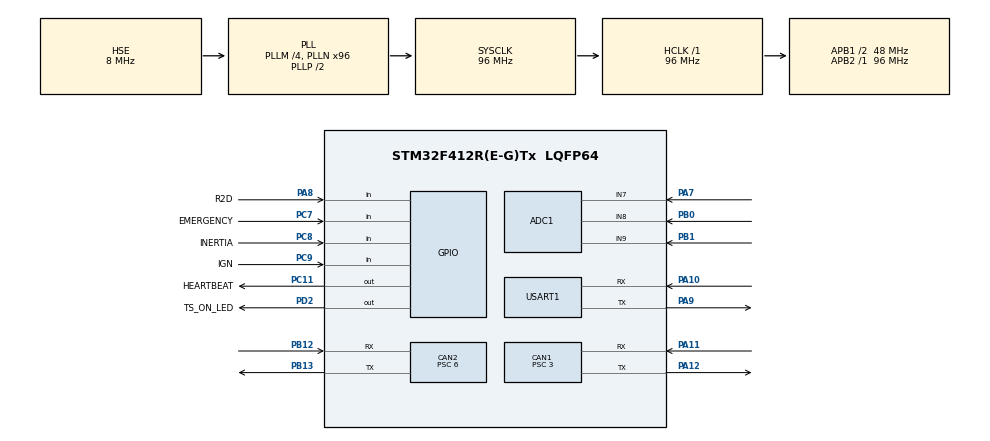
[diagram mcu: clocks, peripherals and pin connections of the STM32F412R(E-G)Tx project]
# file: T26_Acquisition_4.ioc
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ADC1.Channel-0\#ChannelRegularConversion=ADC_CHANNEL_7
ADC1.Channel-1\#ChannelRegularConversion=ADC_CHANNEL_8
ADC1.Channel-2\#ChannelRegularConversion=ADC_CHANNEL_9
ADC1.ContinuousConvMode=ENABLE
ADC1.DMAContinuousRequests=ENABLE
ADC1.NbrOfConversion=3
ADC1.NbrOfConversionFlag=1
ADC1.Rank-0\#ChannelRegularConversion=1
ADC1.Rank-1\#ChannelRegularConversion=2
ADC1.Rank-2\#ChannelRegularConversion=3
ADC1.SamplingTime-0\#ChannelRegularConversion=ADC_SAMPLETIME_480CYCLES
ADC1.SamplingTime-1\#ChannelRegularConversion=ADC_SAMPLETIME_480CYCLES
ADC1.SamplingTime-2\#ChannelRegularConversion=ADC_SAMPLETIME_480CYCLES
ADC1.ScanConvMode=ENABLE
ADC1.master=1
CAN1.ABOM=ENABLE
CAN1.BS1=CAN_BS1_11TQ
CAN1.BS2=CAN_BS2_4TQ
CAN1.CalculateBaudRate=1000000
CAN1.CalculateTimeBit=1000
CAN1.CalculateTimeQuantum=62.5
CAN1.NART=ENABLE
CAN1.Prescaler=3
CAN1.SJW=CAN_SJW_2TQ
CAN2.ABOM=ENABLE
CAN2.BS1=CAN_BS1_13TQ
CAN2.BS2=CAN_BS2_2TQ
CAN2.CalculateBaudRate=500000
CAN2.CalculateTimeBit=2000
CAN2.CalculateTimeQuantum=125.0
CAN2.NART=ENABLE
CAN2.Prescaler=6
CAN2.SJW=CAN_SJW_2TQ
Dma.ADC1.0.Direction=DMA_PERIPH_TO_MEMORY
Dma.ADC1.0.FIFOMode=DMA_FIFOMODE_DISABLE
Dma.ADC1.0.Instance=DMA2_Stream0
Dma.ADC1.0.MemDataAlignment=DMA_MDATAALIGN_HALFWORD
Dma.ADC1.0.MemInc=DMA_MINC_ENABLE
Dma.ADC1.0.Mode=DMA_CIRCULAR
Dma.ADC1.0.PeriphDataAlignment=DMA_PDATAALIGN_HALFWORD
Dma.ADC1.0.PeriphInc=DMA_PINC_DISABLE
Dma.ADC1.0.Priority=DMA_PRIORITY_LOW
Dma.Request0=ADC1
IWDG.Prescaler=IWDG_PRESCALER_64
IWDG.Reload=1000
Mcu.Family=STM32F4
Mcu.Name=STM32F412R(E-G)Tx
Mcu.Package=LQFP64
NVIC.CAN1_RX0_IRQn=true\:0\:0\:false\:false\:true\:true\:true\:true
NVIC.CAN1_RX1_IRQn=true\:0\:0\:false\:false\:true\:true\:true\:true
NVIC.CAN1_SCE_IRQn=true\:0\:0\:false\:false\:true\:true\:true\:true
NVIC.CAN1_TX_IRQn=true\:0\:0\:false\:false\:true\:true\:true\:true
NVIC.CAN2_RX0_IRQn=true\:0\:0\:false\:false\:true\:true\:true\:true
NVIC.CAN2_RX1_IRQn=true\:0\:0\:false\:false\:true\:true\:true\:true
NVIC.CAN2_SCE_IRQn=true\:0\:0\:false\:false\:true\:true\:true\:true
NVIC.CAN2_TX_IRQn=true\:0\:0\:false\:false\:true\:true\:true\:true
NVIC.DMA2_Stream0_IRQn=true\:0\:0\:false\:false\:true\:false\:true\:true
NVIC.PriorityGroup=NVIC_PRIORITYGROUP_4
NVIC.TIM7_IRQn=true\:0\:0\:false\:false\:true\:true\:true\:true
PA10.Mode=Asynchronous
PA10.Signal=USART1_RX
PA11.GPIO_PuPd=GPIO_PULLUP
PA11.Mode=CAN_Activate
PA11.Signal=CAN1_RX
PA12.Mode=CAN_Activate
PA12.Signal=CAN1_TX
PA13.Mode=Serial_Wire
PA13.Signal=SYS_JTMS-SWDIO
PA14.Mode=Serial_Wire
PA14.Signal=SYS_JTCK-SWCLK
PA7.Signal=ADCx_IN7
PA8.GPIO_Label=R2D
PA8.Signal=GPIO_Input
PA9.Mode=Asynchronous
PA9.Signal=USART1_TX
PB0.Signal=ADCx_IN8
PB1.Signal=ADCx_IN9
PB12.GPIO_PuPd=GPIO_PULLUP
PB12.Mode=CAN_Activate
PB12.Signal=CAN2_RX
PB13.Mode=CAN_Activate
PB13.Signal=CAN2_TX
PC11.GPIO_Label=HEARTBEAT
PC11.Signal=GPIO_Output
PC7.GPIO_Label=EMERGENCY
PC7.Signal=GPIO_Input
PC8.GPIO_Label=INERTIA
PC8.Signal=GPIO_Input
PC9.GPIO_Label=IGN
PC9.Signal=GPIO_Input
PD2.GPIO_Label=TS_ON_LED
PD2.Signal=GPIO_Output
PH0\ -\ OSC_IN.Mode=HSE-External-Oscillator
PH0\ -\ OSC_IN.Signal=RCC_OSC_IN
PH1\ -\ OSC_OUT.Mode=HSE-External-Oscillator
PH1\ -\ OSC_OUT.Signal=RCC_OSC_OUT
ProjectManager.HeapSize=0x200
ProjectManager.StackSize=0x400
ProjectManager.TargetToolchain=STM32CubeIDE
RCC.AHBFreq_Value=96000000
RCC.APB1CLKDivider=RCC_HCLK_DIV2
RCC.APB1Freq_Value=48000000
RCC.APB1TimFreq_Value=96000000
RCC.APB2Freq_Value=96000000
RCC.APB2TimFreq_Value=96000000
RCC.CortexFreq_Value=96000000
RCC.HCLKFreq_Value=96000000
RCC.HSE_VALUE=8000000
RCC.PLLM=4
RCC.PLLN=96
RCC.PLLSourceVirtual=RCC_PLLSOURCE_HSE
RCC.SYSCLKFreq_VALUE=96000000
RCC.SYSCLKSource=RCC_SYSCLKSOURCE_PLLCLK
RCC.USBFreq_Value=96000000
RCC.VCOOutputFreq_Value=192000000
SH.ADCx_IN7.0=ADC1_IN7,IN7
SH.ADCx_IN8.0=ADC1_IN8,IN8
SH.ADCx_IN9.0=ADC1_IN9,IN9
TIM7.Period=999
TIM7.Prescaler=95
USART1.VirtualMode=VM_ASYNC
VP_IWDG_VS_IWDG.Mode=IWDG_Activate
VP_TIM7_VS_ClockSourceINT.Mode=Enable_Timer
board=custom

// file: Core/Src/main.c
/* USER CODE BEGIN Header */
/**
 ******************************************************************************
 * @file           : main.c
 * @brief          : Main program body
 ******************************************************************************
 * @attention
 *
 * Copyright (c) 2026 STMicroelectronics.
 * All rights reserved.
 *
 * This software is licensed under terms that can be found in the LICENSE file
 * in the root directory of this software component.
 * If no LICENSE file comes with this software, it is provided AS-IS.
 *
 ******************************************************************************
 */
/* USER CODE END Header */
#include "main.h"
#include "adc.h"
#include "can.h"
#include "dma.h"
#include "iwdg.h"
#include "tim.h"
#include "usart.h"
#include "gpio.h"

/* USER CODE BEGIN Includes */
#include <stdio.h>
#include <string.h>
#include "../DBC/autonomous_t26.h"
#include "../DBC/powertrain_t26.h"

/* USER CODE END Includes */

/* USER CODE BEGIN PV */
volatile uint32_t time_ms = 0;

// Digital inputs
uint8_t inertia;    // PC8
uint8_t emergency;  // PC7

// Analog sensors
float ST_ANGLE;     // Steering angle (deg)
float SUSP1;        // Left suspension travel from ride height (mm): + extension, - compression
float SUSP2;        // Right suspension travel from ride height (mm): + extension, - compression
float SUSP_LEFT_ZERO;           // Absolute left position at boot = ride height (mm)
float SUSP_RIGHT_ZERO;          // Absolute right position at boot = ride height (mm)
uint8_t susp_zero_valid = 0;    // 1 once the ride height zero was captured
uint16_t ADC_VALUE[3];  // DMA target: [0] PA7 steering, [1] PB0 susp1, [2] PB1 susp2

// Digital inputs
uint8_t ignition, r2d;  // PC9, PA8

// ADC moving average
#define ADC_BUFFER_SIZE 10
uint16_t adc_buffers[3][ADC_BUFFER_SIZE];
uint8_t adc_buffer_index = 0;
uint16_t adc_filtered[3];

// Steering sensor: Vishay 981HE0B4WA1F16, 360 deg continuous, analog CW, 10..90 % of 5 V
// (0.5..4.5 V), behind a 2/3 divider. Its output jumps from 90 % back to 10 % once per turn.
// Calibration lives in acq4.steering (centre_deg, stop_min/max_deg, margin_deg, set_centre), see Acq4_Debug.
// Defaults measured on the car (sensor_deg): wheels straight 177.6, stops at 50 and 300.
#define STEERING_CENTRE_DEFAULT_DEG    177.6f
#define STEERING_STOP_MIN_DEFAULT_DEG  50.0f
#define STEERING_STOP_MAX_DEFAULT_DEG  300.0f
#define STEERING_MARGIN_DEFAULT_DEG    10.0f   // allowed past each stop before the hard cap
#define STEERING_MAX_STEP_DEG  90.0f    // max change in one 50 ms sample (1800 deg/s, no driver does that)
#define STEERING_MAX_REJECTS   3        // a jump that persists this many samples is real: accept it

typedef enum {
	STEERING_OK = 0,
	STEERING_CAPPED,    // past a stop + margin (or turned over): held at that limit until it comes back
	STEERING_JUMP,      // impossible jump (glitch while the sensor output jumps): last good value held
	STEERING_FAULT      // sensor output in its diagnostic area (wire open/short, no supply): last good value held
} SteeringState;

// CAN
CAN_TxHeaderTypeDef TxHeader;
uint8_t TxData[8];

CAN_RxHeaderTypeDef RxHeader;
uint8_t RxData[8];

// AMS status received on CAN2 (ID 0x702, byte 1)
uint8_t AMS_Status;
volatile uint32_t ams_last_rx_ms = 0;  // time_ms of the last 0x702 frame

// AMS status is only trusted while 0x702 keeps arriving (set to >= 3x the AMS period)
#define AMS_TIMEOUT_MS 500

// Debug snapshot of the whole board: add "acq4" to STM32CubeIDE Live Expressions
typedef struct {
	uint32_t time_ms;           // uptime (ms)

	struct {
		uint16_t raw[3];        // DMA samples: [0] PA7 steering, [1] PB0 susp left, [2] PB1 susp right
		uint16_t filtered[3];   // moving average of ADC_BUFFER_SIZE samples
		float volts[3];         // filtered value at the MCU pin (V)
	} adc;

	// Steering. The first 5 fields are calibration: write them in Live Expressions, the firmware
	// reads them and never overwrites them (RAM only: copy final values into the
	// STEERING_*_DEFAULT_DEG defines, or they are back to the defaults after a reset).
	// All of them are raw sensor angles (sensor_deg, 0..360).
	// Centre: wheels straight, write 1 in set_centre. Stops: full lock each side, read sensor_deg.
	struct {
		float centre_deg;       // sensor_deg with the wheels straight
		float stop_min_deg;     // sensor_deg at full lock on the low side
		float stop_max_deg;     // sensor_deg at full lock on the high side
		float margin_deg;       // allowed past each stop before the hard cap
		uint8_t set_centre;     // write 1: centre_deg = sensor_deg now (clears itself)

		float angle_deg;        // output sent on CAN (ST_ANGLE): + = sensor CW
		float cap_min_deg;      // hard cap from the centre: stop_min - margin - centre
		float cap_max_deg;      // hard cap from the centre: stop_max + margin - centre
		float sensor_deg;       // raw sensor angle 0..360 (0.5 V = 0, 4.5 V = 360)
		float sample_deg;       // latest sample from the centre before cap/hold/average
		SteeringState state;
		uint32_t capped_count;  // samples held at the limit
		uint32_t jump_count;    // samples rejected as an impossible jump
		uint32_t fault_count;   // samples with the sensor output in its diagnostic area
	} steering;

	struct {
		float susp_left_mm;   // travel from ride height: + extension, - compression
		float susp_right_mm;
		float susp_left_zero_mm;  // absolute position captured at boot
		float susp_right_zero_mm;
	} sensors;

	struct {
		uint8_t ignition;       // PC9
		uint8_t r2d;            // PA8
		uint8_t inertia;        // PC8, 1 = OK
		uint8_t emergency;      // PC7, 1 = OK
		uint8_t ts_on_led;      // PD2 output
	} io;

	struct {
		uint8_t status;         // 0x702 byte 1 (precharge_state), LED on at 0x10
		uint8_t alive;          // 1 while 0x702 arrives within AMS_TIMEOUT_MS
		uint32_t age_ms;        // time since the last 0x702
		uint32_t rx_count;      // 0x702 frames received
	} ams;

	struct {
		uint8_t tx_740[7];      // last AQT4 payload queued (CAN1 0x740, same bytes on CAN2 0x070)
		uint8_t tx_060[1];      // last payload queued on CAN2 (0x060)
		CAN_BusStatus can1;
		CAN_BusStatus can2;
	} can;
} Acq4_Debug;

Acq4_Debug acq4 = {
	.steering = {
		.centre_deg = STEERING_CENTRE_DEFAULT_DEG,
		.stop_min_deg = STEERING_STOP_MIN_DEFAULT_DEG,
		.stop_max_deg = STEERING_STOP_MAX_DEFAULT_DEG,
		.margin_deg = STEERING_MARGIN_DEFAULT_DEG,
	},
};

// Tasks Prototypes
void execute_immediate_tasks(void);
void execute_10ms_tasks(void);
void execute_50ms_tasks(void);
void execute_100ms_tasks(void);
void Acq4_DebugUpdate(void);

/* USER CODE END PV */

void SystemClock_Config(void);
/* USER CODE BEGIN PFP */
void ADC_UpdateMovingAverage(void);
float MeasureSuspensionPosition(uint16_t bits);
float MeasureSteeringAngle(uint16_t bits);

int _write(int file, char *data, int len) {
	HAL_UART_Transmit(&huart1, (uint8_t*) data, len, HAL_MAX_DELAY);
	return len;
}

/* USER CODE END PFP */

/* USER CODE BEGIN 0 */
void HAL_TIM_PeriodElapsedCallback(TIM_HandleTypeDef *htim) {
	if (htim->Instance == TIM7) {
		time_ms++;
	}
}
/* USER CODE END 0 */

int main(void)
{

  /* MCU Configuration--------------------------------------------------------*/

  /* Reset of all peripherals, Initializes the Flash interface and the Systick. */
  HAL_Init();

  /* Configure the system clock */
  SystemClock_Config();

  /* Initialize all configured peripherals */
  MX_GPIO_Init();
  MX_DMA_Init();
  MX_CAN1_Init();
  MX_CAN2_Init();
  MX_USART1_UART_Init();
  MX_TIM7_Init();
  MX_IWDG_Init();
  MX_ADC1_Init();
  /* USER CODE BEGIN 2 */
	HAL_TIM_Base_Start_IT(&htim7);
	HAL_ADC_Start_DMA(&hadc1, (uint32_t*) ADC_VALUE, 3);

	for (int i = 0; i < 3; i++) {
		for (int j = 0; j < ADC_BUFFER_SIZE; j++) {
			adc_buffers[i][j] = 0;
		}
		adc_filtered[i] = 0;
	}

	// CAN filters, start and RX notification are done in MX_CANx_Init (CAN_Config)

  /* USER CODE END 2 */

  /* Infinite loop */
	while (1) {

    /* USER CODE BEGIN 3 */

		// Execute immediate tasks
		execute_immediate_tasks();

		static uint32_t previus_tick_10ms = 0;
		static uint32_t previus_tick_50ms = 0;
		static uint32_t previus_tick_100ms = 0;

		// Execute 10ms Tasks
		if (time_ms - previus_tick_10ms >= 10) {
			execute_10ms_tasks();
			previus_tick_10ms = time_ms;
		}

		// Execute 50ms Tasks
		if (time_ms - previus_tick_50ms >= 50) {
			execute_50ms_tasks();
			previus_tick_50ms = time_ms;
		}

		// Execute 100ms Tasks
		if (time_ms - previus_tick_100ms >= 100) {
			execute_100ms_tasks();
			previus_tick_100ms = time_ms;
		}
	}

  /* USER CODE END 3 */
}

void SystemClock_Config(void)
{
  RCC_OscInitTypeDef RCC_OscInitStruct = {0};
  RCC_ClkInitTypeDef RCC_ClkInitStruct = {0};

  /** Configure the main internal regulator output voltage
  */
  __HAL_RCC_PWR_CLK_ENABLE();
  __HAL_PWR_VOLTAGESCALING_CONFIG(PWR_REGULATOR_VOLTAGE_SCALE1);

  /** Initializes the RCC Oscillators according to the specified parameters
  * in the RCC_OscInitTypeDef structure.
  */
  RCC_OscInitStruct.OscillatorType = RCC_OSCILLATORTYPE_LSI|RCC_OSCILLATORTYPE_HSE;
  RCC_OscInitStruct.HSEState = RCC_HSE_ON;
  RCC_OscInitStruct.LSIState = RCC_LSI_ON;
  RCC_OscInitStruct.PLL.PLLState = RCC_PLL_ON;
  RCC_OscInitStruct.PLL.PLLSource = RCC_PLLSOURCE_HSE;
  RCC_OscInitStruct.PLL.PLLM = 4;
  RCC_OscInitStruct.PLL.PLLN = 96;
  RCC_OscInitStruct.PLL.PLLP = RCC_PLLP_DIV2;
  RCC_OscInitStruct.PLL.PLLQ = 2;
  RCC_OscInitStruct.PLL.PLLR = 2;
  if (HAL_RCC_OscConfig(&RCC_OscInitStruct) != HAL_OK)
  {
    Error_Handler();
  }

  /** Initializes the CPU, AHB and APB buses clocks
  */
  RCC_ClkInitStruct.ClockType = RCC_CLOCKTYPE_HCLK|RCC_CLOCKTYPE_SYSCLK
                              |RCC_CLOCKTYPE_PCLK1|RCC_CLOCKTYPE_PCLK2;
  RCC_ClkInitStruct.SYSCLKSource = RCC_SYSCLKSOURCE_PLLCLK;
  RCC_ClkInitStruct.AHBCLKDivider = RCC_SYSCLK_DIV1;
  RCC_ClkInitStruct.APB1CLKDivider = RCC_HCLK_DIV2;
  RCC_ClkInitStruct.APB2CLKDivider = RCC_HCLK_DIV1;

  if (HAL_RCC_ClockConfig(&RCC_ClkInitStruct, FLASH_LATENCY_3) != HAL_OK)
  {
    Error_Handler();
  }
}

/* USER CODE BEGIN 4 */
void execute_immediate_tasks() {

}

void execute_10ms_tasks() {
	HAL_IWDG_Refresh(&hiwdg);

	// Digital inputs
	ignition = HAL_GPIO_ReadPin(IGN_GPIO_Port, IGN_Pin);
	r2d = HAL_GPIO_ReadPin(R2D_GPIO_Port, R2D_Pin);
	inertia = HAL_GPIO_ReadPin(INERTIA_GPIO_Port, INERTIA_Pin);
	emergency = HAL_GPIO_ReadPin(EMERGENCY_GPIO_Port, EMERGENCY_Pin);

	// CAN health check every 10 ms, restart max every 100 ms (see canX_status / acq4.can)
	CAN_Service(&hcan1);
	CAN_Service(&hcan2);

	Acq4_DebugUpdate();
}

void execute_50ms_tasks() {
	ADC_UpdateMovingAverage();
	// Steering is filtered after the conversion (as an angle), not as raw counts: averaging counts
	// across the sensor's 90 % -> 10 % jump would give a meaningless angle in between
	ST_ANGLE = MeasureSteeringAngle(ADC_VALUE[0]);

	// Ride height zero: wherever the suspension sits at boot becomes 0 mm. Captured the first
	// time the moving average is full (index wraps back to 0, ~0.5 s after boot); until then send 0.
	if (!susp_zero_valid && (adc_buffer_index == 0)) {
		SUSP_LEFT_ZERO = MeasureSuspensionPosition(adc_filtered[1]);
		SUSP_RIGHT_ZERO = MeasureSuspensionPosition(adc_filtered[2]);
		susp_zero_valid = 1;
	}

	// Sign convention: + = EXTENSION, - = COMPRESSION.
	// On this car the sensor voltage DROPS when the suspension extends, so SUSP = ZERO - absolute.
	if (susp_zero_valid) {
		SUSP1 = SUSP_LEFT_ZERO - MeasureSuspensionPosition(adc_filtered[1]);
		SUSP2 = SUSP_RIGHT_ZERO - MeasureSuspensionPosition(adc_filtered[2]);
	} else {
		SUSP1 = 0.0f;
		SUSP2 = 0.0f;
	}

	// Frames are built with the cantools code of each bus DBC (Core/DBC): scale, sign and bit
	// layout come from the DBC, so a DBC change only needs the files regenerated.
	// AQT4 (steering angle, suspensions, inertia/emergency) goes on both buses, ID from each DBC.
	struct autonomous_t26_aqt4_t aqt4_autonomous = {
		.st_angle = autonomous_t26_aqt4_st_angle_encode(ST_ANGLE),
		.susp_l = autonomous_t26_aqt4_susp_l_encode(SUSP1),
		.susp_r = autonomous_t26_aqt4_susp_r_encode(SUSP2),
		.inertia = autonomous_t26_aqt4_inertia_encode(inertia),
		.emergency = autonomous_t26_aqt4_emergency_encode(emergency),
	};
	struct powertrain_t26_aqt4_t aqt4_powertrain = {
		.st_angle = powertrain_t26_aqt4_st_angle_encode(ST_ANGLE),
		.susp_l = powertrain_t26_aqt4_susp_l_encode(SUSP1),
		.susp_r = powertrain_t26_aqt4_susp_r_encode(SUSP2),
		.inertia = powertrain_t26_aqt4_inertia_encode(inertia),
		.emergency = powertrain_t26_aqt4_emergency_encode(emergency),
	};
	struct powertrain_t26_dash_board_t dash_board = {
		.ignition_switch_raw = powertrain_t26_dash_board_ignition_switch_raw_encode(ignition),
		.r2d_button_raw = powertrain_t26_dash_board_r2d_button_raw_encode(r2d),
	};

	TxHeader.IDE = CAN_ID_STD;
	TxHeader.RTR = CAN_RTR_DATA;

	// A failed send is counted in canX_status and handled by CAN_Service, never fatal
	// CAN1 (autonomous) - AQT4 0x740
	TxHeader.StdId = AUTONOMOUS_T26_AQT4_FRAME_ID;
	TxHeader.DLC = AUTONOMOUS_T26_AQT4_LENGTH;
	autonomous_t26_aqt4_pack(TxData, &aqt4_autonomous, sizeof(TxData));
	memcpy(acq4.can.tx_740, TxData, sizeof(acq4.can.tx_740));
	CAN_Send(&hcan1, &TxHeader, TxData);

	// CAN2 (powertrain) - AQT4 0x070
	TxHeader.StdId = POWERTRAIN_T26_AQT4_FRAME_ID;
	TxHeader.DLC = POWERTRAIN_T26_AQT4_LENGTH;
	powertrain_t26_aqt4_pack(TxData, &aqt4_powertrain, sizeof(TxData));
	CAN_Send(&hcan2, &TxHeader, TxData);

	// CAN2 (powertrain) - 0x060 DashBoard: ignition / R2D
	TxHeader.StdId = POWERTRAIN_T26_DASH_BOARD_FRAME_ID;
	TxHeader.DLC = POWERTRAIN_T26_DASH_BOARD_LENGTH;
	powertrain_t26_dash_board_pack(TxData, &dash_board, sizeof(TxData));
	memcpy(acq4.can.tx_060, TxData, sizeof(acq4.can.tx_060));
	CAN_Send(&hcan2, &TxHeader, TxData);
}

void execute_100ms_tasks() {
	HAL_GPIO_TogglePin(HEARTBEAT_GPIO_Port, HEARTBEAT_Pin); // HEARTBEAT

	printf("O Steering Angle é %.2f\n", ST_ANGLE);
	printf("A suspensão da esquerda é %.2f\n", SUSP1);
	printf("A suspensão da direita é %.2f\n", SUSP2);
	printf("O Ignition está a %d\n", ignition);
	printf("O R2D está a %d\n", r2d);
	if (inertia == 1) {
		printf("O Inertia está bom\n");
	} else {
		printf("O Inertia está ativado\n");
	}
	if (emergency == 1) {
		printf("O Emergency button está bom\n");
	} else {
		printf("O Emergency button está ativado\n");
	}

	// TS ON LED driven by AMS status, forced off if the AMS frame stopped arriving
	uint8_t ams_alive = (time_ms - ams_last_rx_ms) <= AMS_TIMEOUT_MS;
	if (ams_alive && (AMS_Status == 0x10)) {
		HAL_GPIO_WritePin(TS_ON_LED_GPIO_Port, TS_ON_LED_Pin, GPIO_PIN_SET);
	} else {
		HAL_GPIO_WritePin(TS_ON_LED_GPIO_Port, TS_ON_LED_Pin, GPIO_PIN_RESET);
	}
}

void HAL_CAN_RxFifo0MsgPendingCallback(CAN_HandleTypeDef *hcan) {
	if (HAL_CAN_GetRxMessage(hcan, CAN_RX_FIFO0, &RxHeader, RxData) != HAL_OK) {
		return;
	}

	if ((RxHeader.StdId == 0x702) && (RxHeader.IDE == CAN_ID_STD)) {
		AMS_Status = RxData[1];
		ams_last_rx_ms = time_ms;
		acq4.ams.rx_count++;
	}
}

// Copies everything into acq4 for Live Expressions (called every 10 ms)
void Acq4_DebugUpdate(void) {
	uint32_t now = time_ms;

	acq4.time_ms = now;

	for (int i = 0; i < 3; i++) {
		acq4.adc.raw[i] = ADC_VALUE[i];
		acq4.adc.filtered[i] = adc_filtered[i];
		acq4.adc.volts[i] = adc_filtered[i] * 3.3f / 4095.0f;
	}

	acq4.steering.angle_deg = ST_ANGLE;
	acq4.sensors.susp_left_mm = SUSP1;
	acq4.sensors.susp_right_mm = SUSP2;
	acq4.sensors.susp_left_zero_mm = SUSP_LEFT_ZERO;
	acq4.sensors.susp_right_zero_mm = SUSP_RIGHT_ZERO;

	acq4.io.ignition = ignition;
	acq4.io.r2d = r2d;
	acq4.io.inertia = inertia;
	acq4.io.emergency = emergency;
	acq4.io.ts_on_led = HAL_GPIO_ReadPin(TS_ON_LED_GPIO_Port, TS_ON_LED_Pin);

	acq4.ams.status = AMS_Status;
	acq4.ams.age_ms = now - ams_last_rx_ms;
	acq4.ams.alive = acq4.ams.age_ms <= AMS_TIMEOUT_MS;

	acq4.can.can1 = can1_status;
	acq4.can.can2 = can2_status;
}

// Measurements

// Moving average over the last ADC_BUFFER_SIZE samples of each ADC channel
void ADC_UpdateMovingAverage(void) {
	for (int channel = 0; channel < 3; channel++) {
		adc_buffers[channel][adc_buffer_index] = ADC_VALUE[channel];

		uint32_t sum = 0;
		for (int i = 0; i < ADC_BUFFER_SIZE; i++) {
			sum += adc_buffers[channel][i];
		}

		adc_filtered[channel] = sum / ADC_BUFFER_SIZE;
	}

	adc_buffer_index = (adc_buffer_index + 1) % ADC_BUFFER_SIZE;
}

// Converts ADC counts to suspension position (mm) - 75 mm linear potentiometer
float MeasureSuspensionPosition(uint16_t bits) {
	float V_SUSP;
	float sensor_voltage = 5.0f;
	float MCU_voltage = 3.3f;
	float Electrical_stroke = 75.0f;
	float SUSPENSION_POSITION;
	float Conversion_Factor = MCU_voltage / sensor_voltage;
	float volts;

	V_SUSP = (bits * MCU_voltage) / 4095.0f;
	volts = V_SUSP / Conversion_Factor;

	SUSPENSION_POSITION = (Electrical_stroke * volts) / sensor_voltage;

	return SUSPENSION_POSITION;
}

// Converts one ADC sample to steering angle (deg from the centre, + = sensor CW) and returns the
// moving average of the last ADC_BUFFER_SIZE samples. Call every 50 ms.
// The angle is taken from acq4.steering.centre_deg and wrapped to +-180 deg. With the sensor mounted
// so the centre reads ~180 deg, its once-per-turn jump (4.5 V -> 0.5 V) sits at +-180 deg, beyond the
// stops, so the output is continuous over the whole steering range.
float MeasureSteeringAngle(uint16_t bits) {
	static float samples[ADC_BUFFER_SIZE];
	static uint8_t index = 0;
	static float last = 0.0f;       // last accepted sample (deg)
	static uint8_t rejects = 0;     // consecutive samples rejected as a jump

	float v_sensor = bits * (3.3f / 4095.0f) * 1.5f;                 // MCU pin -> sensor output (undo 2/3 divider)
	acq4.steering.sensor_deg = (v_sensor - 0.5f) * (360.0f / 4.0f);  // 0.5 V = 0 deg, 4.5 V = 360 deg

	// Live Expressions: write 1 in set_centre with the wheels straight to make this the centre.
	// The filter restarts from 0 so the new centre does not look like a jump.
	if (acq4.steering.set_centre) {
		acq4.steering.set_centre = 0;
		acq4.steering.centre_deg = acq4.steering.sensor_deg;
		last = 0.0f;
		rejects = 0;
		for (int i = 0; i < ADC_BUFFER_SIZE; i++) {
			samples[i] = 0.0f;
		}
	}

	// Hard cap from the centre: each stop plus the margin, never past the +-180 wrap
	float cap_min = acq4.steering.stop_min_deg - acq4.steering.margin_deg - acq4.steering.centre_deg;
	float cap_max = acq4.steering.stop_max_deg + acq4.steering.margin_deg - acq4.steering.centre_deg;
	if (cap_min < -180.0f) {
		cap_min = -180.0f;
	}
	if (cap_max > 180.0f) {
		cap_max = 180.0f;
	}
	acq4.steering.cap_min_deg = cap_min;
	acq4.steering.cap_max_deg = cap_max;

	float angle = acq4.steering.sensor_deg - acq4.steering.centre_deg;
	while (angle > 180.0f) {
		angle -= 360.0f;
	}
	while (angle <= -180.0f) {
		angle += 360.0f;
	}
	acq4.steering.sample_deg = angle;

	float step = angle - last;

	if ((v_sensor < 0.25f) || (v_sensor > 4.8f)) {
		// Diagnostic area (outside 10..90 % with margin for the 5 V tolerance): hold the last good value
		acq4.steering.state = STEERING_FAULT;
		acq4.steering.fault_count++;
		angle = last;
	} else if ((step > 360.0f - STEERING_MAX_STEP_DEG) || (step < -(360.0f - STEERING_MAX_STEP_DEG))) {
		// Short way across +-180: it turned over. Hard cap on the side it was until it comes back.
		acq4.steering.state = STEERING_CAPPED;
		acq4.steering.capped_count++;
		angle = (last >= 0.0f) ? cap_max : cap_min;
	} else if ((angle > cap_max) || (angle < cap_min)) {
		// Past a stop + margin: hard cap
		acq4.steering.state = STEERING_CAPPED;
		acq4.steering.capped_count++;
		angle = (angle > cap_max) ? cap_max : cap_min;
	} else if (((step > STEERING_MAX_STEP_DEG) || (step < -STEERING_MAX_STEP_DEG)) &&
	           (rejects < STEERING_MAX_REJECTS)) {
		// Too fast to be the driver: glitch while the sensor output jumps 90 % -> 10 %
		rejects++;
		acq4.steering.state = STEERING_JUMP;
		acq4.steering.jump_count++;
		angle = last;
	} else {
		rejects = 0;
		acq4.steering.state = STEERING_OK;
		last = angle;
	}

	samples[index] = angle;
	index = (index + 1) % ADC_BUFFER_SIZE;

	float sum = 0.0f;
	for (int i = 0; i < ADC_BUFFER_SIZE; i++) {
		sum += samples[i];
	}
	return sum / ADC_BUFFER_SIZE;
}
/* USER CODE END 4 */

void Error_Handler(void)
{
	__disable_irq();
	while (1) {
	}
}
